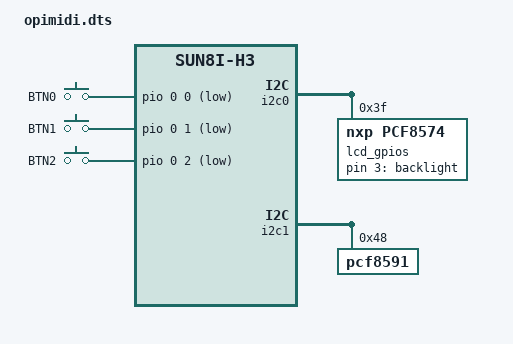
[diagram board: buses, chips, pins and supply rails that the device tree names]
/dts-v1/;
/plugin/;
/ {
	compatible = "xunlong,orangepi-zero", "allwinner,sun8i-h2plus", "allwinner,sun8i-h3";

        /*
         * Disable uneeded hardware
         */
	fragment0 {
                // UART2, pins are used for gpio-keys
		target = <&uart2>;
		__overlay__ {
		    status = "disabled";
		};
	};
	fragment1 {
		target = <&xr819wifi>;
		__overlay__ {
		    status = "disabled";
		};
	};


        /*
         * Enable and configure opimidi hardware
         */
        fragment100 {
                // i2c-0, with the LCD GPIO
		target = <&i2c0>;
		__overlay__ {
                    status = "okay";
                    #address-cells = <1>;
                    #size-cells = <0>;
                    lcd_gpios: pcf8574@3f {
                        compatible = "nxp,pcf8574";
                        reg = <0x3f>;
                        gpio-controller;
                        #gpio-cells = <2>;
                        ngpios = <8>;
                        gpio-line-names = "RS", "RW", "E", "BL", "D5", "D6", "D7", "D8";
                    };
                };
        };

        fragment110 {
                // i2c-1, with the ADC
		target = <&i2c1>;
		__overlay__ {
                    status = "okay";
                    #address-cells = <1>;
                    #size-cells = <0>;
                    pcf8591@48 {
                        compatible = "pcf8591";
                        reg = <0x48>;
                    };
                };
        };

	fragment120 {
		target-path = "/";
		__overlay__ {
                    // The buttons on PA00-PA02
		    opimidi-keys {
			compatible = "gpio-keys";
                        button0 {
                           label = "BTN0";
                           linux,code = <0x100>;
                           gpios = <&pio 0 0 1>;
                        };
                        button1 {
                           label = "BTN1";
                           linux,code = <0x101>;
                           gpios = <&pio 0 1 1>;
                        };
                        button2 {
                           label = "BTN2";
                           linux,code = <0x102>;
                           gpios = <&pio 0 2 1>;
                        };
		    };
                    // The LCD backlight
                    opimidi-lcd-leds {
                        compatible = "gpio-leds";
                        backlight {
                            gpios = <&lcd_gpios 3 0>;
                            default-state = "off";
                        };
                    };
		};
	};
};


// vi: sw=4 sts=4 et
